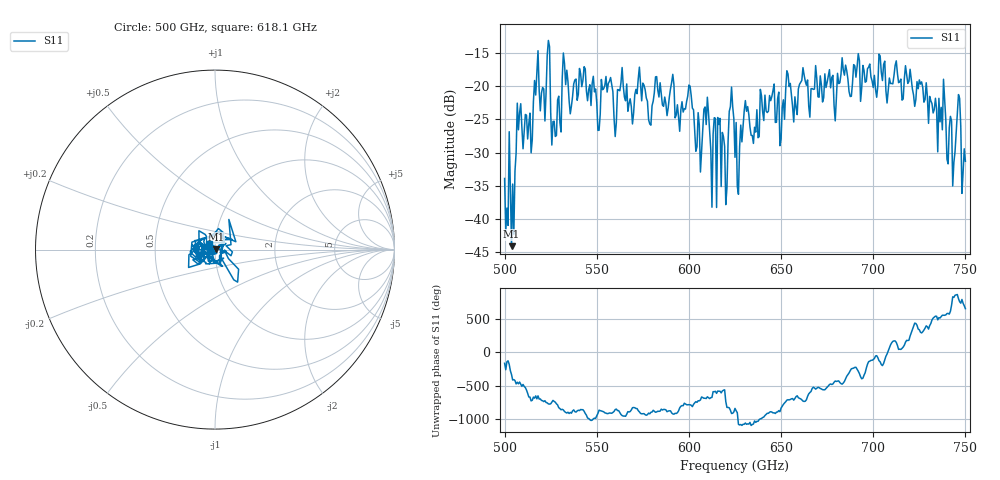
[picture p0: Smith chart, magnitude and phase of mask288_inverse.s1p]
!Created with skrf (http://scikit-rf.org).
# GHz S MA R 50.0
!freq magS11 angS11
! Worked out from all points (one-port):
!   401 points, 500 GHz to 750 GHz, reference 50 ohm
!   lowest |S11| = -44.1 dB at 503.8 GHz (marker M1), VSWR 1.01, Z = 50.6 + j0.26 ohm
!   |S11| at or under -10 dB: start of sweep to end of sweep
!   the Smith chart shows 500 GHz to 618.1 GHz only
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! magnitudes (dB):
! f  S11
! 500 GHz  -33.9
! 503.8 GHz  -44.1
! 507.5 GHz  -26.6
! 513.8 GHz  -24.1
! 516.9 GHz  -21.3
! 523.8 GHz  -13.1
! 526.9 GHz  -25.3
! 531.2 GHz  -18.9
! 542.5 GHz  -19.1
! 550.6 GHz  -26.6
! 556.2 GHz  -19.6
! 560 GHz  -27.6
! 562.5 GHz  -20.7
! 578.8 GHz  -25.7
! 590.6 GHz  -19.4
! 593.8 GHz  -22.8
! 600 GHz  -19.8
! 605 GHz  -24.0
! 609.4 GHz  -25.8
! 620 GHz  -37.8
! 623.1 GHz  -20.1
! 625 GHz  -30.7
! 656.2 GHz  -23.1
! 687.5 GHz  -21.6
! 718.8 GHz  -19.6
! 743.8 GHz  -31.5
! 746.2 GHz  -21.3
! 750 GHz  -31.3
